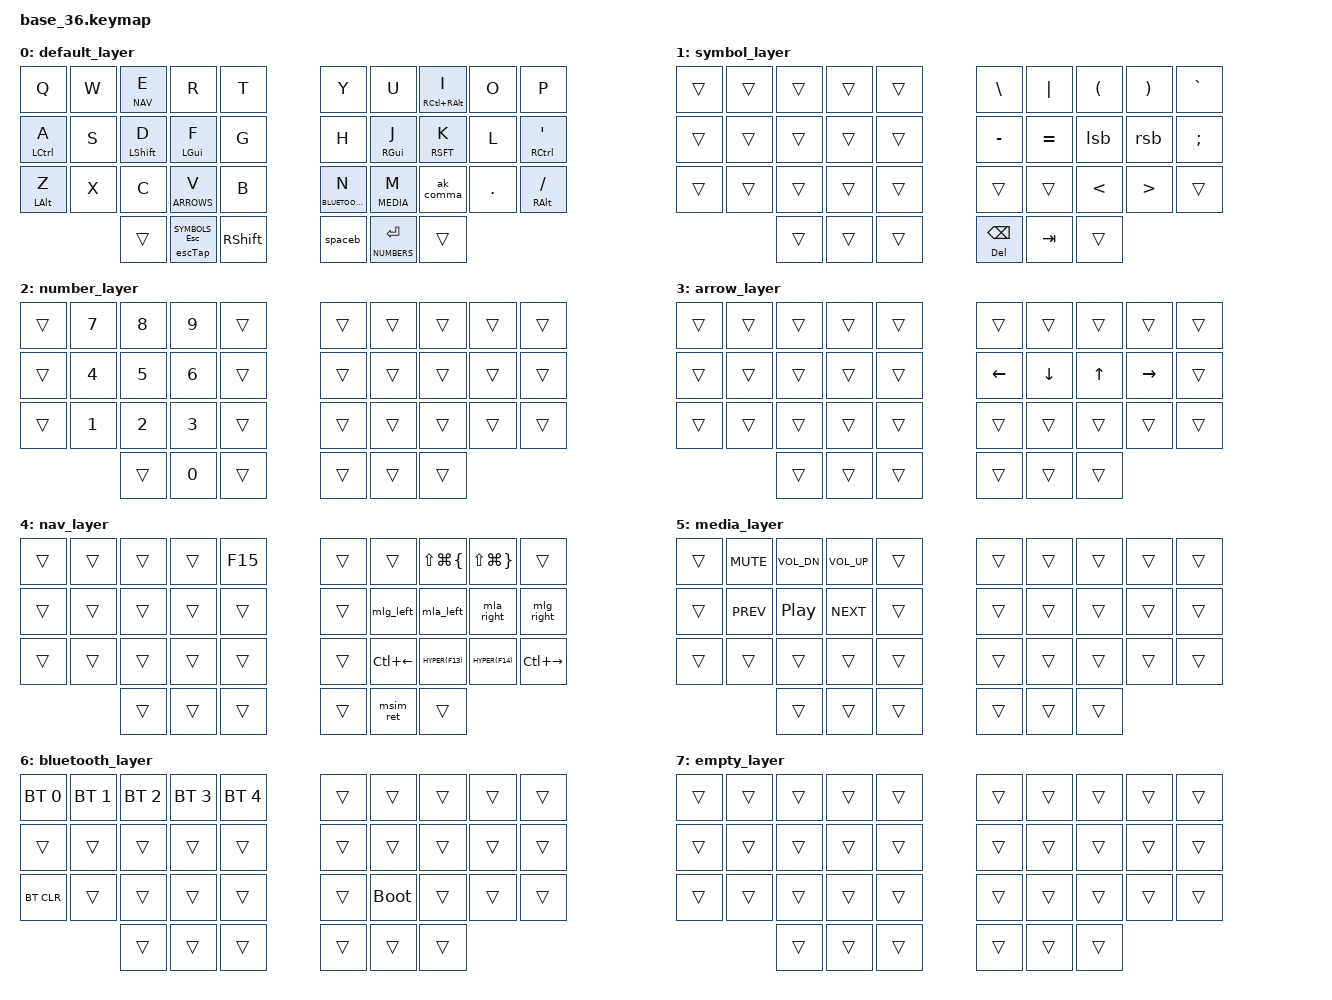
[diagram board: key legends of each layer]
/*
* Copyright (c) 2020 The ZMK Contributors
*
* SPDX-License-Identifier: MIT
*/

#include <behaviors.dtsi>
#include <dt-bindings/zmk/keys.h>
#include <dt-bindings/zmk/bt.h>
#include <behaviors.dtsi>

// Layer Definitions
#define SYMBOLS 1
#define NUMBERS 2
#define ARROWS 3
#define NAV 4
#define MEDIA 5
#define BLUETOOTH 6

// Keycode Definitions
#define HYP LS(LC(LA(LGUI)))
#define HYPER(key) LS(LC(LA(LG(key))))
#define MEH(key) LS(LC(LA(key)))

&caps_word {
	continue-list = <A B C D E F G H I J K L M N O P Q R S T U V W X Y Z UNDERSCORE MINUS BSPC DEL SYMBOLS>;
};

/ {
	combos {
		compatible = "zmk,combos";
		
		combo_caps_word {
			timeout-ms = <50>;
			key-positions = <15 20>;
			bindings = <&caps_word>;
		};
	};
};

/ {
	behaviors {
		spaceb: space_backspace {
			compatible = "zmk,behavior-mod-morph";
			label = "SPACE_BACKSPACE";
			#binding-cells = <0>;
			bindings = <&ht_tp HYP SPACE>, <&ht_tp DEL BSPC>;
			mods = <(MOD_RSFT)>;
		};
		
		lsb: left_shift_bracket {
			compatible = "zmk,behavior-mod-morph";
			label = "LEFT_SHIFT_BRACKET";
			#binding-cells = <0>;
			bindings =  <&kp LBRC>, <&kp LBKT>;
			mods = <(MOD_LSFT)>;
		};
		
		rsb: right_shift_bracket {
			compatible = "zmk,behavior-mod-morph";
			label = "RIGHT_SHIFT_BRACKET";
			#binding-cells = <0>;
			bindings = <&kp RBRC>, <&kp RBKT>;
			mods = <(MOD_LSFT)>;
		};

        ak_comma: adaptive_comma { // double-tap comma = caps_word
            compatible = "zmk,behavior-adaptive-key";
            label = "Adaptive Comma";
            #binding-cells = <0>;
            bindings = <&kp COMMA>;

            ak_comma_cap { trigger-keys = <COMMA>; max-prior-idle-ms = <200>; bindings = <&kp BSPC &caps_word>; };
        };

		ltf: layer_tap_fast {
			compatible = "zmk,behavior-hold-tap";
			label = "LAYER_TAP_FAST";
			#binding-cells = <2>;
			tapping-term-ms = <200>;
			quick-tap-ms = <200>;
            require-prior-idle-ms = <125>;
			flavor = "tap-preferred";
			bindings = <&mo>, <&kp>;
		};

		mlg_left: macro_lgui_left {
			compatible = "zmk,behavior-macro";
			label = "MLG_LEFT";
			#binding-cells = <0>;
			tap-ms = <10>;
			bindings =
				<&kp F15>,
				<&kp LG(LEFT)>,
				<&kp ESCAPE>;
		};

		mlg_right: macro_lgui_right {
			compatible = "zmk,behavior-macro";
			label = "MLG_RIGHT";
			#binding-cells = <0>;
			tap-ms = <10>;
			bindings =
				<&kp F15>,
				<&kp LG(RIGHT)>,
				<&kp ESCAPE>;
		};

		mla_left: macro_lalt_left {
			compatible = "zmk,behavior-macro";
			label = "MLA_LEFT";
			#binding-cells = <0>;
			tap-ms = <10>;
			bindings =
				<&kp F15>,
				<&kp LA(LEFT)>,
				<&kp ESCAPE>;
		};

		mla_right: macro_lalt_right {
			compatible = "zmk,behavior-macro";
			label = "MLA_RIGHT";
			#binding-cells = <0>;
			tap-ms = <10>;
			bindings =
				<&kp F15>,
				<&kp LA(RIGHT)>,
				<&kp ESCAPE>;
		};

		msim_ret: macro_simple_ret {
			compatible = "zmk,behavior-macro";
			label = "MSIM_RET";
			#binding-cells = <0>;
			tap-ms = <10>;
			bindings =
				<&kp F15>,
				<&kp RET>,
				<&kp ESCAPE>;
		};
	};
	
	// Keymap Template
	//
	// | SW2  | SW3  | SW4  | SW5  | SW6  |   | SW6  | SW5  | SW4  | SW3  | SW2  |
	// | SW8  | SW9  | SW10 | SW11 | SW12 |   | SW12 | SW11 | SW10 | SW9  | SW8  |
	// | SW14 | SW15 | SW16 | SW17 | SW18 |   | SW18 | SW17 | SW16 | SW15 | SW14 |
	//               | SW19 | SW20 | SW21 |   | SW21 | SW20 | SW19 |
	
	keymap {
		compatible = "zmk,keymap";
		
		default_layer {
			bindings = <
			&kp Q &kp W &ltf NAV E &kp R &kp T                     &kp Y &kp U &bhm RC(RALT) I &kp O &kp P
			&bhm LCTRL A &kp S &bhm LSHFT D &bhm LGUI F &kp G     &kp H &bhm RGUI J &bhm RSFT K &kp L &bhm RCTRL APOS
			&bhm LALT Z  &kp X &kp C &ltf ARROWS V                 &kp B &lt BLUETOOTH N &lt MEDIA M &ak_comma &kp DOT &bhm RALT FSLH
			&trans &escTap SYMBOLS ESC &kp RSHFT        &spaceb &ltf NUMBERS RET &trans
			>;
		};
		
		symbol_layer {
			bindings = <
			&trans &trans &trans &trans &trans       &kp BSLH    &kp PIPE    &kp LPAR &kp RPAR &kp GRAVE
			&trans &trans &trans &trans &trans       &kp MINUS &kp EQUAL &lsb &rsb &kp SEMI
			&trans &trans &trans &trans &trans       &trans    &trans    &kp LT   &kp GT   &trans
			&trans &trans &trans       &ht_tp DEL BSPC &kp TAB &trans
			>;
		};
		
		number_layer {
			bindings = <
			&trans &kp N7 &kp N8 &kp N9 &trans       &trans &trans &trans &trans &trans
			&trans &kp N4 &kp N5 &kp N6 &trans       &trans &trans &trans &trans &trans
			&trans &kp N1 &kp N2 &kp N3 &trans       &trans &trans &trans &trans &trans
			&trans &kp N0 &trans       &trans &trans &trans
			>;
		};
		
		arrow_layer {
			bindings = <
			&trans &trans &trans &trans &trans       &trans &trans &trans &trans &trans
			&trans &trans &trans &trans &trans       &kp LEFT &kp DOWN &kp UP &kp RIGHT &trans
			&trans &trans &trans &trans &trans       &trans &trans &trans &trans &trans
			&trans &trans &trans       &trans &trans &trans
			>;
		};
		
		nav_layer {
			bindings = <
			&trans &trans &trans &trans &kp F15       &trans &trans          &kp LS(LG(LBRC)) &kp LS(LG(RBRC)) &trans
			&trans &trans &trans &trans &trans       &trans &mlg_left &mla_left    &mla_right   &mlg_right
			&trans &trans &trans &trans &trans       &trans &kp LC(LEFT)    &kp HYPER(F13)   &kp HYPER(F14)  &kp LC(RIGHT)
			&trans &trans &trans       &trans &msim_ret    &trans
			>;
		};
		
		media_layer {
			bindings = <
			&trans &kp K_MUTE &kp C_VOL_DN &kp C_VOL_UP &trans       &trans &trans &trans &trans &trans
			&trans &kp C_PREV &kp C_PLAY_PAUSE &kp C_NEXT &trans       &trans &trans &trans &trans &trans
			&trans &trans &trans &trans &trans                         &trans &trans &trans &trans &trans
			&trans &trans &trans                         &trans &trans &trans
			>;
		};
		
		bluetooth_layer {
			bindings = <
			&bt BT_SEL 0 &bt BT_SEL 1 &bt BT_SEL 2 &bt BT_SEL 3 &bt BT_SEL 4         &trans &trans &trans &trans &trans
			&trans &trans &trans &trans &trans                                       &trans &trans &trans &trans &trans
			&bt BT_CLR &trans &trans &trans &trans                                       &trans &bootloader &trans &trans &trans
			&trans &trans &trans                                          &trans &trans &trans
			>;
		};
		
		empty_layer {
			bindings = <
			&trans &trans &trans &trans &trans       &trans &trans &trans &trans &trans
			&trans &trans &trans &trans &trans       &trans &trans &trans &trans &trans
			&trans &trans &trans &trans &trans       &trans &trans &trans &trans &trans
			&trans &trans &trans       &trans &trans &trans
			>;
		};
		
		
	};
};
